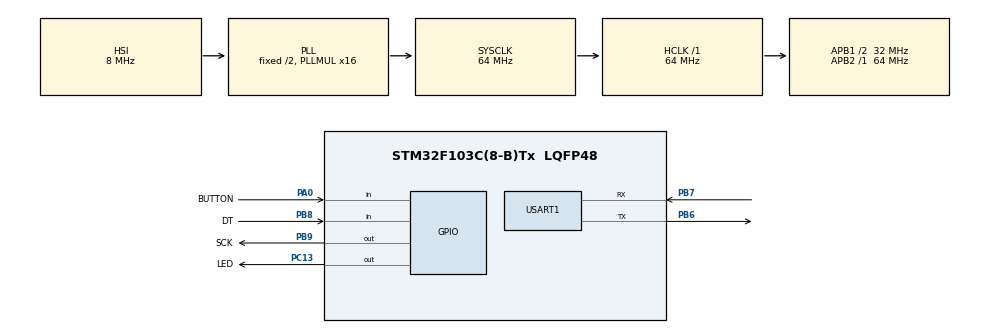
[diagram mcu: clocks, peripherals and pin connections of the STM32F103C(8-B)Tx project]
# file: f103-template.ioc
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Mcu.Family=STM32F1
Mcu.Name=STM32F103C(8-B)Tx
Mcu.Package=LQFP48
NVIC.PriorityGroup=NVIC_PRIORITYGROUP_4
NVIC.USART1_IRQn=true\:0\:0\:false\:true\:true\:2\:true\:true\:true
PA0-WKUP.GPIO_Label=BUTTON
PA0-WKUP.Signal=GPIO_Input
PA13.Mode=Serial_Wire
PA13.Signal=SYS_JTMS-SWDIO
PA14.Mode=Serial_Wire
PA14.Signal=SYS_JTCK-SWCLK
PB6.Mode=Asynchronous
PB6.Signal=USART1_TX
PB7.Mode=Asynchronous
PB7.Signal=USART1_RX
PB8.GPIO_Label=DT
PB8.Signal=GPIO_Input
PB9.GPIO_Label=SCK
PB9.Signal=GPIO_Output
PC13-TAMPER-RTC.GPIO_Label=LED
PC13-TAMPER-RTC.PinState=GPIO_PIN_SET
PC13-TAMPER-RTC.Signal=GPIO_Output
ProjectManager.HeapSize=0x200
ProjectManager.StackSize=0x400
ProjectManager.TargetToolchain=STM32CubeIDE
RCC.AHBFreq_Value=64000000
RCC.APB1CLKDivider=RCC_HCLK_DIV2
RCC.APB1Freq_Value=32000000
RCC.APB1TimFreq_Value=64000000
RCC.APB2Freq_Value=64000000
RCC.APB2TimFreq_Value=64000000
RCC.HCLKFreq_Value=64000000
RCC.PLLMUL=RCC_PLL_MUL16
RCC.SYSCLKFreq_VALUE=64000000
RCC.SYSCLKSource=RCC_SYSCLKSOURCE_PLLCLK
RCC.USBFreq_Value=64000000
TIM2.Prescaler=64 - 1
USART1.VirtualMode=VM_ASYNC
VP_TIM2_VS_ClockSourceINT.Mode=Internal
board=custom

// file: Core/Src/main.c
/* USER CODE BEGIN Header */
/**
  ******************************************************************************
  * @file           : main.c
  * @brief          : Main program body
  ******************************************************************************
  * @attention
  *
  * Copyright (c) 2025 STMicroelectronics.
  * All rights reserved.
  *
  * This software is licensed under terms that can be found in the LICENSE file
  * in the root directory of this software component.
  * If no LICENSE file comes with this software, it is provided AS-IS.
  *
  ******************************************************************************
  */
/* USER CODE END Header */
#include "main.h"

/* USER CODE BEGIN Includes */
#include <string.h>
#include <stdbool.h>
#include <stdint.h>
/* USER CODE END Includes */

TIM_HandleTypeDef htim2;

UART_HandleTypeDef huart1;

/* USER CODE BEGIN PV */
static bool last_state;
static bool state;
static uint8_t led_state;
/* USER CODE END PV */

void SystemClock_Config(void);
static void MX_GPIO_Init(void);
static void MX_USART1_UART_Init(void);
static void MX_TIM2_Init(void);
static void MX_NVIC_Init(void);

int main(void)
{

  /* MCU Configuration--------------------------------------------------------*/

  /* Reset of all peripherals, Initializes the Flash interface and the Systick. */
  HAL_Init();

  /* Configure the system clock */
  SystemClock_Config();

  /* Initialize all configured peripherals */
  MX_GPIO_Init();
  MX_USART1_UART_Init();
  MX_TIM2_Init();

  /* Initialize interrupts */
  MX_NVIC_Init();
  /* USER CODE BEGIN 2 */
  HAL_TIM_Base_Start(&htim2);
  /* USER CODE END 2 */

  /* Infinite loop */
  /* USER CODE BEGIN WHILE */
//  HAL_UART_Receive_IT(&huart1, buffer, sizeof(buffer));

  while (1)
  {

	 last_state = state;
	 state = HAL_GPIO_ReadPin(BUTTON_GPIO_Port, BUTTON_Pin);

	 if (led_state == 0)
	 {
		 static uint32_t last_tick;

		 if (last_tick == 0) last_tick = HAL_GetTick();
		 if (HAL_GetTick() - last_tick > 2000)
		 {
			 HAL_GPIO_TogglePin(LED_GPIO_Port, LED_Pin);
			 last_tick = 0;
		 }

		 if (last_state && !state)
		 {
			 led_state = 2;
		 }

	 }
	 else if (led_state == 1)
	 {
		 static uint32_t last_tick;

		 if (last_tick == 0) last_tick = HAL_GetTick();
		 if (HAL_GetTick() - last_tick > 1000)
		 {
			 HAL_GPIO_TogglePin(LED_GPIO_Port, LED_Pin);
			 last_tick = 0;
		 }

		 if (last_state && !state)
		 {
			 led_state = 2;
		 }
	 }
	 else if (led_state == 2)
	 {
		 static uint32_t last_tick;

		 if (last_tick == 0) last_tick = HAL_GetTick();
		 if (HAL_GetTick() - last_tick > 100)
		 {
			 HAL_GPIO_TogglePin(LED_GPIO_Port, LED_Pin);
			 last_tick = 0;
		 }

		 if (last_state && !state)
		 {
			 led_state = 0;
		 }
	 }

	 HAL_Delay(10);

    /* USER CODE END WHILE */

  }
}

void SystemClock_Config(void)
{
  RCC_OscInitTypeDef RCC_OscInitStruct = {0};
  RCC_ClkInitTypeDef RCC_ClkInitStruct = {0};

  /** Initializes the RCC Oscillators according to the specified parameters
  * in the RCC_OscInitTypeDef structure.
  */
  RCC_OscInitStruct.OscillatorType = RCC_OSCILLATORTYPE_HSI;
  RCC_OscInitStruct.HSIState = RCC_HSI_ON;
  RCC_OscInitStruct.HSICalibrationValue = RCC_HSICALIBRATION_DEFAULT;
  RCC_OscInitStruct.PLL.PLLState = RCC_PLL_ON;
  RCC_OscInitStruct.PLL.PLLSource = RCC_PLLSOURCE_HSI_DIV2;
  RCC_OscInitStruct.PLL.PLLMUL = RCC_PLL_MUL16;
  if (HAL_RCC_OscConfig(&RCC_OscInitStruct) != HAL_OK)
  {
    Error_Handler();
  }

  /** Initializes the CPU, AHB and APB buses clocks
  */
  RCC_ClkInitStruct.ClockType = RCC_CLOCKTYPE_HCLK|RCC_CLOCKTYPE_SYSCLK
                              |RCC_CLOCKTYPE_PCLK1|RCC_CLOCKTYPE_PCLK2;
  RCC_ClkInitStruct.SYSCLKSource = RCC_SYSCLKSOURCE_PLLCLK;
  RCC_ClkInitStruct.AHBCLKDivider = RCC_SYSCLK_DIV1;
  RCC_ClkInitStruct.APB1CLKDivider = RCC_HCLK_DIV2;
  RCC_ClkInitStruct.APB2CLKDivider = RCC_HCLK_DIV1;

  if (HAL_RCC_ClockConfig(&RCC_ClkInitStruct, FLASH_LATENCY_2) != HAL_OK)
  {
    Error_Handler();
  }
}

/**
  * @brief NVIC Configuration.
  * @retval None
  */
static void MX_NVIC_Init(void)
{
  /* USART1_IRQn interrupt configuration */
  HAL_NVIC_SetPriority(USART1_IRQn, 0, 0);
  HAL_NVIC_EnableIRQ(USART1_IRQn);
}

static void MX_TIM2_Init(void)
{

  TIM_ClockConfigTypeDef sClockSourceConfig = {0};
  TIM_MasterConfigTypeDef sMasterConfig = {0};

  htim2.Instance = TIM2;
  htim2.Init.Prescaler = 64 - 1;
  htim2.Init.CounterMode = TIM_COUNTERMODE_UP;
  htim2.Init.Period = 65535;
  htim2.Init.ClockDivision = TIM_CLOCKDIVISION_DIV1;
  htim2.Init.AutoReloadPreload = TIM_AUTORELOAD_PRELOAD_DISABLE;
  if (HAL_TIM_Base_Init(&htim2) != HAL_OK)
  {
    Error_Handler();
  }
  sClockSourceConfig.ClockSource = TIM_CLOCKSOURCE_INTERNAL;
  if (HAL_TIM_ConfigClockSource(&htim2, &sClockSourceConfig) != HAL_OK)
  {
    Error_Handler();
  }
  sMasterConfig.MasterOutputTrigger = TIM_TRGO_RESET;
  sMasterConfig.MasterSlaveMode = TIM_MASTERSLAVEMODE_DISABLE;
  if (HAL_TIMEx_MasterConfigSynchronization(&htim2, &sMasterConfig) != HAL_OK)
  {
    Error_Handler();
  }

}

static void MX_USART1_UART_Init(void)
{

  huart1.Instance = USART1;
  huart1.Init.BaudRate = 115200;
  huart1.Init.WordLength = UART_WORDLENGTH_8B;
  huart1.Init.StopBits = UART_STOPBITS_1;
  huart1.Init.Parity = UART_PARITY_NONE;
  huart1.Init.Mode = UART_MODE_TX_RX;
  huart1.Init.HwFlowCtl = UART_HWCONTROL_NONE;
  huart1.Init.OverSampling = UART_OVERSAMPLING_16;
  if (HAL_UART_Init(&huart1) != HAL_OK)
  {
    Error_Handler();
  }

}

static void MX_GPIO_Init(void)
{
  GPIO_InitTypeDef GPIO_InitStruct = {0};

  /* GPIO Ports Clock Enable */
  __HAL_RCC_GPIOC_CLK_ENABLE();
  __HAL_RCC_GPIOA_CLK_ENABLE();
  __HAL_RCC_GPIOB_CLK_ENABLE();

  /*Configure GPIO pin Output Level */
  HAL_GPIO_WritePin(LED_GPIO_Port, LED_Pin, GPIO_PIN_SET);

  /*Configure GPIO pin Output Level */
  HAL_GPIO_WritePin(SCK_GPIO_Port, SCK_Pin, GPIO_PIN_RESET);

  /*Configure GPIO pin : LED_Pin */
  GPIO_InitStruct.Pin = LED_Pin;
  GPIO_InitStruct.Mode = GPIO_MODE_OUTPUT_PP;
  GPIO_InitStruct.Pull = GPIO_NOPULL;
  GPIO_InitStruct.Speed = GPIO_SPEED_FREQ_LOW;
  HAL_GPIO_Init(LED_GPIO_Port, &GPIO_InitStruct);

  /*Configure GPIO pin : BUTTON_Pin */
  GPIO_InitStruct.Pin = BUTTON_Pin;
  GPIO_InitStruct.Mode = GPIO_MODE_INPUT;
  GPIO_InitStruct.Pull = GPIO_NOPULL;
  HAL_GPIO_Init(BUTTON_GPIO_Port, &GPIO_InitStruct);

  /*Configure GPIO pin : DT_Pin */
  GPIO_InitStruct.Pin = DT_Pin;
  GPIO_InitStruct.Mode = GPIO_MODE_INPUT;
  GPIO_InitStruct.Pull = GPIO_NOPULL;
  HAL_GPIO_Init(DT_GPIO_Port, &GPIO_InitStruct);

  /*Configure GPIO pin : SCK_Pin */
  GPIO_InitStruct.Pin = SCK_Pin;
  GPIO_InitStruct.Mode = GPIO_MODE_OUTPUT_PP;
  GPIO_InitStruct.Pull = GPIO_NOPULL;
  GPIO_InitStruct.Speed = GPIO_SPEED_FREQ_LOW;
  HAL_GPIO_Init(SCK_GPIO_Port, &GPIO_InitStruct);

}

/* USER CODE BEGIN 4 */
void HAL_GPIO_EXTI_Callback(uint16_t GPIO_Pin)
{
	static bool is_presed;

	if (GPIO_Pin == BUTTON_Pin)
	{

	}
}
void HAL_UART_RxCpltCallback(UART_HandleTypeDef *huart)
{
	if (huart->Instance == USART1)
	{

	}
}

void HAL_UARTEx_RxEventCallback(UART_HandleTypeDef *huart, uint16_t Size)
{
	if (huart->Instance == USART1)
	{

	}
}

/* USER CODE END 4 */

void Error_Handler(void)
{
  __disable_irq();
  while (1)
  {
  }
}
